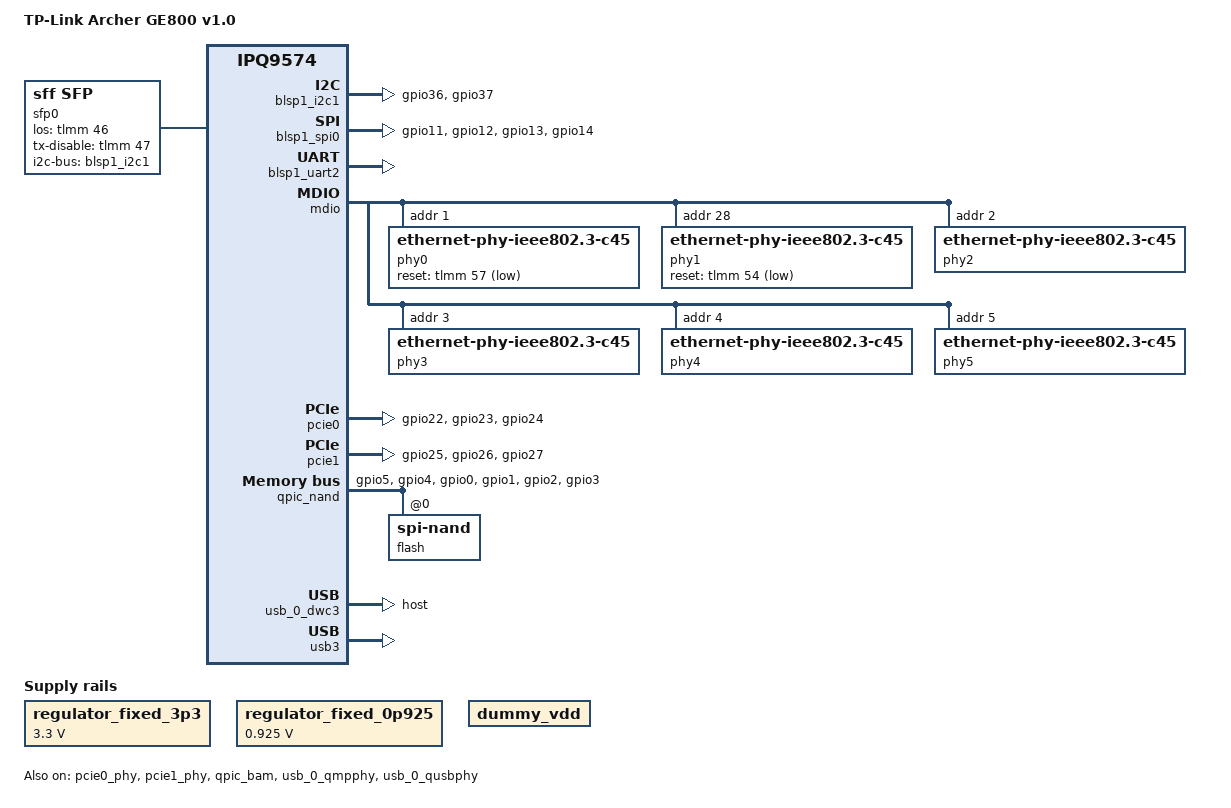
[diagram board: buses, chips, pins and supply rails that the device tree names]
// SPDX-License-Identifier: (GPL-2.0+ OR BSD-3-Clause)

/dts-v1/;

#include <dt-bindings/gpio/gpio.h>
#include "ipq9574.dtsi"

/ {
	model = "TP-Link Archer GE800 v1.0";
	compatible = "tplink,archer-ge800-v1", "qcom,ipq9574";

	aliases {
		serial0 = &blsp1_uart2;
		ethernet0 = &xgmac1;
		ethernet1 = &xgmac5;
		ethernet2 = &xgmac6;
	};

	chosen {
		stdout-path = "serial0:115200n8";
	};

	regulator_fixed_3p3: s3300 {
		compatible = "regulator-fixed";
		regulator-min-microvolt = <3300000>;
		regulator-max-microvolt = <3300000>;
		regulator-boot-on;
		regulator-always-on;
		regulator-name = "fixed_3p3";
	};

	regulator_fixed_0p925: s0925 {
		compatible = "regulator-fixed";
		regulator-min-microvolt = <925000>;
		regulator-max-microvolt = <925000>;
		regulator-boot-on;
		regulator-always-on;
		regulator-name = "fixed_0p925";
	};

	sfp0: sfp-0 {
		compatible = "sff,sfp";
		pinctrl-0 = <&sfp0_default>;
		pinctrl-names = "default";
		i2c-bus = <&blsp1_i2c1>;
		los-gpios = <&tlmm 46 GPIO_ACTIVE_HIGH>;
		tx-disable-gpios = <&tlmm 47 GPIO_ACTIVE_HIGH>;
	};
};

&blsp1_i2c1 {
	pinctrl-0 = <&i2c1_default>;
	pinctrl-names = "default";
	status = "okay";
};

&blsp1_spi0 {
	pinctrl-0 = <&spi_0_default>;
	pinctrl-names = "default";
	status = "okay";
/*
	flash@0 {
		compatible = "jedec,spi-nor";
		reg = <0>;
		#address-cells = <1>;
		#size-cells = <1>;
		spi-max-frequency = <50000000>;
	};
*/
};

&blsp1_uart2 {
	pinctrl-0 = <&uart2_pins>;
	pinctrl-names = "default";
	status = "okay";
};

&qcom_ppe {
	ethernet-ports {
		#address-cells = <1>;
		#size-cells = <0>;

		xgmac1: port@1 {
			reg = <1>;
			phy-mode = "10gbase-r";
			managed = "in-band-status";
			label = "wan";
			sfp = <&sfp0>;
			pcs-handle = <&pcsuniphy0_ch0>;
			local-mac-address = [00 00 00 00 00 00];
			clocks = <&nsscc NSS_CC_PORT1_MAC_CLK>,
				 <&nsscc NSS_CC_PORT1_RX_CLK>,
				 <&nsscc NSS_CC_PORT1_TX_CLK>;
			clock-names = "port_mac",
				      "port_rx",
				      "port_tx";
			resets = <&nsscc PORT1_MAC_ARES>,
				 <&nsscc PORT1_RX_ARES>,
				 <&nsscc PORT1_TX_ARES>;
			reset-names = "port_mac",
				      "port_rx",
				      "port_tx";
		};

		xgmac5: port@5 {
			reg = <5>;
			phy-mode = "2500base-x";
			label = "lan1";
			phy-handle = <&phy0>;
			pcs-handle = <&pcsuniphy1_ch0>;
			local-mac-address = [00 00 00 00 00 00];
			clocks = <&nsscc NSS_CC_PORT5_MAC_CLK>,
				 <&nsscc NSS_CC_PORT5_RX_CLK>,
				 <&nsscc NSS_CC_PORT5_TX_CLK>;
			clock-names = "port_mac",
				      "port_rx",
				      "port_tx";
			resets = <&nsscc PORT5_MAC_ARES>,
				 <&nsscc PORT5_RX_ARES>,
				 <&nsscc PORT5_TX_ARES>;
			reset-names = "port_mac",
				      "port_rx",
				      "port_tx";
		};

		xgmac6: port@6 {
			reg = <6>;
			phy-mode = "usxgmii";
			managed = "in-band-status";
			label = "lan2";
			phy-handle = <&phy1>;
			pcs-handle = <&pcsuniphy2_ch0>;
			local-mac-address = [00 00 00 00 00 00];
			clocks = <&nsscc NSS_CC_PORT6_MAC_CLK>,
				 <&nsscc NSS_CC_PORT6_RX_CLK>,
				 <&nsscc NSS_CC_PORT6_TX_CLK>;
			clock-names = "port_mac",
				      "port_rx",
				      "port_tx";
			resets = <&nsscc PORT6_MAC_ARES>,
				 <&nsscc PORT6_RX_ARES>,
				 <&nsscc PORT6_TX_ARES>;
			reset-names = "port_mac",
				      "port_rx",
				      "port_tx";
		};
	};
};

&mdio {
	status = "okay";
	pinctrl-0 = <&mdio_pins>;
	pinctrl-names = "default";

	phy0: ethernet-phy@1 {
		compatible = "ethernet-phy-ieee802.3-c45";
		reg = <1>;
		reset-gpios = <&tlmm 57 GPIO_ACTIVE_LOW>;
	};

	phy1: ethernet-phy@28 {
		compatible = "ethernet-phy-ieee802.3-c45";
		reg = <28>;
		reset-assert-us = <40>;
		reset-deassert-us = <150000>;
		reset-gpios = <&tlmm 54 GPIO_ACTIVE_LOW>;
	};

	phy2: ethernet-phy@2 {
		compatible = "ethernet-phy-ieee802.3-c45";
		reg = <2>;
	};
	phy3: ethernet-phy@3 {
		compatible = "ethernet-phy-ieee802.3-c45";
		reg = <3>;
	};
	phy4: ethernet-phy@4 {
		compatible = "ethernet-phy-ieee802.3-c45";
		reg = <4>;
	};
	phy5: ethernet-phy@5 {
		compatible = "ethernet-phy-ieee802.3-c45";
		reg = <5>;
	};
};

&pcie0 {
	pinctrl-0 = <&pcie0_default>;
	pinctrl-names = "default";

	perst-gpios = <&tlmm 23 GPIO_ACTIVE_LOW>;
	wake-gpios = <&tlmm 24 GPIO_ACTIVE_LOW>;
	status = "okay";
};

&pcie0_phy {
	status = "okay";
};

&pcie1 {
	pinctrl-0 = <&pcie1_default>;
	pinctrl-names = "default";

	perst-gpios = <&tlmm 26 GPIO_ACTIVE_LOW>;
	wake-gpios = <&tlmm 27 GPIO_ACTIVE_LOW>;
	status = "okay";
};

&pcie1_phy {
	status = "okay";
};
/*
&pcie2 {
	pinctrl-0 = <&pcie2_default>;
	pinctrl-names = "default";

	perst-gpios = <&tlmm 29 GPIO_ACTIVE_LOW>;
	wake-gpios = <&tlmm 30 GPIO_ACTIVE_LOW>;
	status = "okay";
};

&pcie2_phy {
	status = "okay";
};
*/
/*
&pcie3 {
	pinctrl-0 = <&pcie3_default>;
	pinctrl-names = "default";

	perst-gpios = <&tlmm 32 GPIO_ACTIVE_LOW>;
	wake-gpios = <&tlmm 33 GPIO_ACTIVE_LOW>;
	status = "okay";
};

&pcie3_phy {
	status = "okay";
};
*/
/*
&blsp1_uart2 {
	pinctrl-0 = <&uart2_pins>;
	pinctrl-names = "default";
	status = "okay";
};
*/
&rpm_requests {
	regulators {
		compatible = "qcom,rpm-mp5496-regulators";

		dummy_vdd: regulator-dummy {
			compatible = "regulator-fixed";
			regulator-name = "dummy-vdd";
			regulator-always-on;
		};

		ipq9574_s1: s1 {
		/*
		 * During kernel bootup, the SoC runs at 800MHz with 875mV set by the bootloaders.
		 * During regulator registration, kernel not knowing the initial voltage,
		 * considers it as zero and brings up the regulators with minimum supported voltage.
		 * Update the regulator-min-microvolt with SVS voltage of 725mV so that
		 * the regulators are brought up with 725mV which is sufficient for all the
		 * corner parts to operate at 800MHz
		 */
			regulator-min-microvolt = <725000>;
			regulator-max-microvolt = <1075000>;
			vdd-supply = <&dummy_vdd>;  // Prevents circular reference
		};
/*
		mp5496_l5: l5 {
			regulator-min-microvolt = <1800000>;
			regulator-max-microvolt = <1800000>;
			regulator-always-on;
			regulator-boot-on;
		};
*/
	};
};

&sleep_clk {
	clock-frequency = <32000>;
};

&tlmm {
	spi_0_default: spi-0-default-state {
		pins = "gpio11", "gpio12", "gpio13", "gpio14";
		function = "blsp0_spi";
		drive-strength = <8>;
		bias-disable;
	};

	pcie0_default: pcie0-default-state {
		clkreq-n-pins {
			pins = "gpio22";
			function = "pcie0_clk";
			drive-strength = <6>;
			bias-pull-up;
		};

		perst-n-pins {
			pins = "gpio23";
			function = "gpio";
			drive-strength = <8>;
			bias-pull-down;
			output-low;
		};

		wake-n-pins {
			pins = "gpio24";
			function = "pcie0_wake";
			drive-strength = <6>;
			bias-pull-up;
		};
	};

	pcie1_default: pcie1-default-state {
		clkreq-n-pins {
			pins = "gpio25";
			function = "pcie1_clk";
			drive-strength = <6>;
			bias-pull-up;
		};

		perst-n-pins {
			pins = "gpio26";
			function = "gpio";
			drive-strength = <8>;
			bias-pull-down;
			output-low;
		};

		wake-n-pins {
			pins = "gpio27";
			function = "pcie1_wake";
			drive-strength = <6>;
			bias-pull-up;
		};
	};

	pcie2_default: pcie2-default-state {
		clkreq-n-pins {
			pins = "gpio28";
			function = "pcie2_clk";
			drive-strength = <6>;
			bias-pull-up;
		};

		perst-n-pins {
			pins = "gpio29";
			function = "gpio";
			drive-strength = <8>;
			bias-pull-down;
			output-low;
		};

		wake-n-pins {
			pins = "gpio30";
			function = "pcie2_wake";
			drive-strength = <6>;
			bias-pull-up;
		};
	};

	pcie3_default: pcie3-default-state {
		clkreq-n-pins {
			pins = "gpio31";
			function = "pcie3_clk";
			drive-strength = <6>;
			bias-pull-up;
		};

		perst-n-pins {
			pins = "gpio32";
			function = "gpio";
			drive-strength = <8>;
			bias-pull-up;
			output-low;
		};

		wake-n-pins {
			pins = "gpio33";
			function = "pcie3_wake";
			drive-strength = <6>;
			bias-pull-up;
		};
	};

	i2c1_default: i2c1-default-state {
		pins = "gpio36", "gpio37";
		function = "blsp1_i2c";
		drive-strength = <8>;
		bias-pull-up;
	};

	sfp0_default: sfp0-default-state {
		pins = "gpio46", "gpio47";
		function = "gpio";
		drive-strength = <8>;
		bias-pull-down;
	};

	qpic_snand_default_state: qpic-snand-default-state {
		clock-pins {
			pins = "gpio5";
			function = "qspi_clk";
			drive-strength = <8>;
			bias-disable;
		};

		cs-pins {
			pins = "gpio4";
			function = "qspi_cs";
			drive-strength = <8>;
			bias-disable;
		};

		data-pins {
			pins = "gpio0", "gpio1", "gpio2", "gpio3";
			function = "qspi_data";
			drive-strength = <8>;
			bias-disable;
		};
	};
};

&qpic_bam {
	status = "okay";
};

&qpic_nand {
	pinctrl-0 = <&qpic_snand_default_state>;
	pinctrl-names = "default";

	status = "okay";

	flash@0 {
		compatible = "spi-nand";
		reg = <0>;
		#address-cells = <1>;
		#size-cells = <1>;

		nand-ecc-engine = <&qpic_nand>;
		nand-ecc-strength = <4>;
		nand-ecc-step-size = <512>;

		partitions {
			compatible = "qcom,smem-part";
		};
/*
		partitions {
			compatible = "fixed-partitions";
			#address-cells = <1>;
			#size-cells = <1>;

			partition@0 {
				label = "0:SBL1";
				reg = <0x0 0x180000>;
				read-only;
			};

			partition@180000 {
				label = "0:MIBIB";
				reg = <0x180000 0x100000>;
				read-only;
			};

			partition@280000 {
				label = "0:BOOTCONFIG";
				reg = <0x280000 0x80000>;
				read-only;
			};

			partition@300000 {
				label = "0:BOOTCONFIG1";
				reg = <0x300000 0x80000>;
				read-only;
			};

			partition@380000 {
				label = "0:QSEE";
				reg = <0x380000 0x380000>;
				read-only;
			};

			partition@700000 {
				label = "0:DEVCFG";
				reg = <0x700000 0x80000>;
				read-only;
			};

			partition@780000 {
				label = "0:APDP";
				reg = <0x780000 0x80000>;
				read-only;
			};

			partition@800000 {
				label = "0:TME";
				reg = <0x800000 0x80000>;
				read-only;
			};

			partition@880000 {
				label = "0:RPM";
				reg = <0x880000 0x80000>;
				read-only;
			};

			partition@900000 {
				label = "0:CDT";
				reg = <0x900000 0x80000>;
				read-only;
			};

			partition@980000 {
				label = "0:APPSBLENV";
				reg = <0x980000 0x80000>;
				read-only;
			};

			partition@a00000 {
				label = "0:APPSBL";
				reg = <0xa00000 0x180000>;
				read-only;
			};

			partition@b80000 {
				label = "0:ART";
				reg = <0xb80000 0x200000>;
				read-only;
			};

			partition@d80000 {
				label = "0:ETHPHYFW";
				reg = <0xd80000 0x100000>;
				read-only;
			};

			partition@e80000 {
				label = "0:LICENSE";
				reg = <0xe80000 0x40000>;
				read-only;
			};

			partition@ec0000 {
				label = "secure-binary";
				reg = <0xec0000 0x80000>;
				read-only;
			};

			partition@f40000 {
				label = "rootfs";
				reg = <0xf40000 0x5f00000>;
				compatible = "linux,ubi";
				read-only;
			};

			partition@6e40000 {
				label = "rootfs_1";
				reg = <0x6e40000 0x5f00000>;
				read-only;
			};

			partition@cd40000 {
				label = "tp_data";
				reg = <0xcd40000 0x1440000>;
				read-only;
			};

			partition@e180000 {
				label = "data";
				reg = <0xe180000 0x80000>;
				read-only;
			};
		};
*/
	};
};

&usb_0_dwc3 {
	dr_mode = "host";
};

&usb_0_qmpphy {
/*
	vdda-pll-supply = <&mp5496_l5>;
	vdda-phy-supply = <&regulator_fixed_0p925>;
*/
	status = "okay";
};

&usb_0_qusbphy {
/*
	vdd-supply = <&regulator_fixed_0p925>;
	vdda-pll-supply = <&mp5496_l5>;
	vdda-phy-dpdm-supply = <&regulator_fixed_3p3>;
*/
	status = "okay";
};

&usb3 {
	status = "okay";
};

/*
 * The bootstrap pins for the board select the XO clock frequency,
 * which automatically enables the right dividers to ensure the
 * reference clock output from WiFi is 48 MHZ.
 */
&ref_48mhz_clk {
	clock-div = <1>;
	clock-mult = <1>;
};

/*
 * The frequency of xo_board_clk is fixed to 24 MHZ, which is routed
 * from WiFi output clock 48 MHZ divided by 2.
 */
&xo_board_clk {
	clock-div = <2>;
	clock-mult = <1>;
};

&xo_clk {
	clock-frequency = <48000000>;
};
